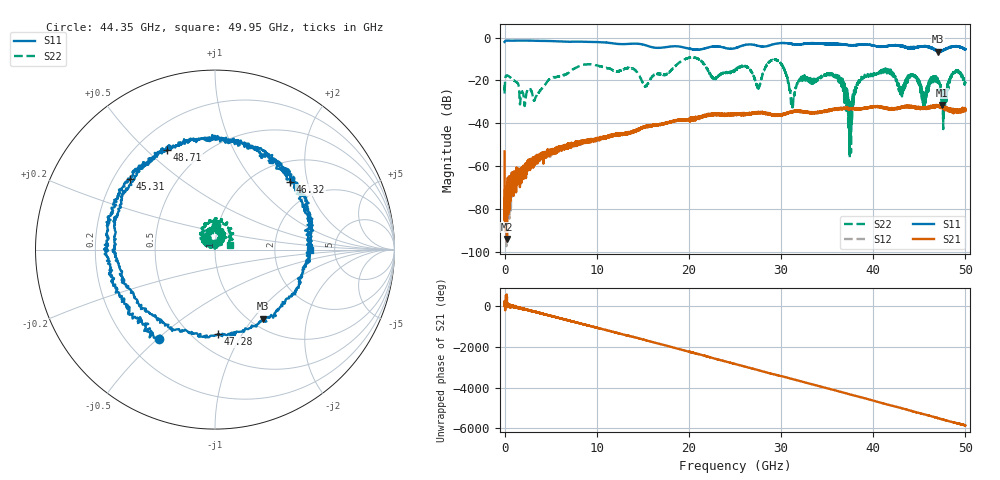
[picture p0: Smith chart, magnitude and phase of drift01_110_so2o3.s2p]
!Created with skrf (http://scikit-rf.org).
# Hz S RI R 50.0
!freq ReS11 ImS11 ReS21 ImS21 ReS12 ImS12 ReS22 ImS22
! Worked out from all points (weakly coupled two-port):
!   10001 points, 300 kHz to 50 GHz, reference 50 ohm
!   highest |S21| = -31.46 dB at 47.49 GHz (marker M1); lowest = -94.1 dB at 265.3 MHz (marker M2)
!   lowest |S11| = -6.6 dB at 47.07 GHz (marker M3), VSWR 2.75, Z = 56.8 - j55.9 ohm
!   |S11| at or under -10 dB: nowhere
!   |S22| runs from -56.3 to -9.2 dB; largest |S21 - S12| = 0.0038
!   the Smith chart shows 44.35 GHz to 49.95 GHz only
!   S11 on the Smith chart (normalised r, x): 44.35 GHz: 0.33, -0.51; 45.31 GHz: 0.27, +0.34; 46.32 GHz: 1.42, +1.57; 47.28 GHz: 0.66, -0.79; 48.71 GHz: 0.33, +0.58; 49.95 GHz: 3.25, -0.03
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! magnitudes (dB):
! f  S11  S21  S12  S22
! 300 kHz  -2.1  -53.2  -62.7  -22.1
! 265.3 MHz  -1.4  -94.1  -71.7  -17.7
! 3.285 GHz  -1.5  -57.5  -58.8  -28.9
! 8.335 GHz  -1.9  -48.7  -48.2  -12.9
! 16.67 GHz  -4.8  -40.6  -40.7  -16.7
! 25 GHz  -5.0  -35.6  -35.8  -15.6
! 29.58 GHz  -2.8  -36.3  -36.1  -10.6
! 31.24 GHz  -2.9  -34.5  -34.6  -32.7
! 33.34 GHz  -2.6  -35.1  -35.1  -20.2
! 36.22 GHz  -3.1  -33.4  -33.5  -19.5
! 37.49 GHz  -3.5  -32.9  -33.3  -37.7
! 38.65 GHz  -3.3  -33.5  -33.4  -19.9
! 41.67 GHz  -3.9  -33.3  -33.0  -16.0
! 44.35 GHz  -4.6  -32.5  -32.7  -17.4
! 45.31 GHz  -4.2  -32.7  -32.8  -26.0
! 46.32 GHz  -5.0  -32.2  -32.3  -20.2
! 47.07 GHz  -6.6  -31.9  -31.8  -22.2
! 47.28 GHz  -6.5  -32.4  -31.9  -22.8
! 47.49 GHz  -6.0  -31.5  -32.6  -25.0
! 48.71 GHz  -4.2  -34.0  -34.3  -16.2
! 49.95 GHz  -5.5  -33.7  -34.1  -21.2
! 50 GHz  -5.4  -34.2  -33.8  -21.8
